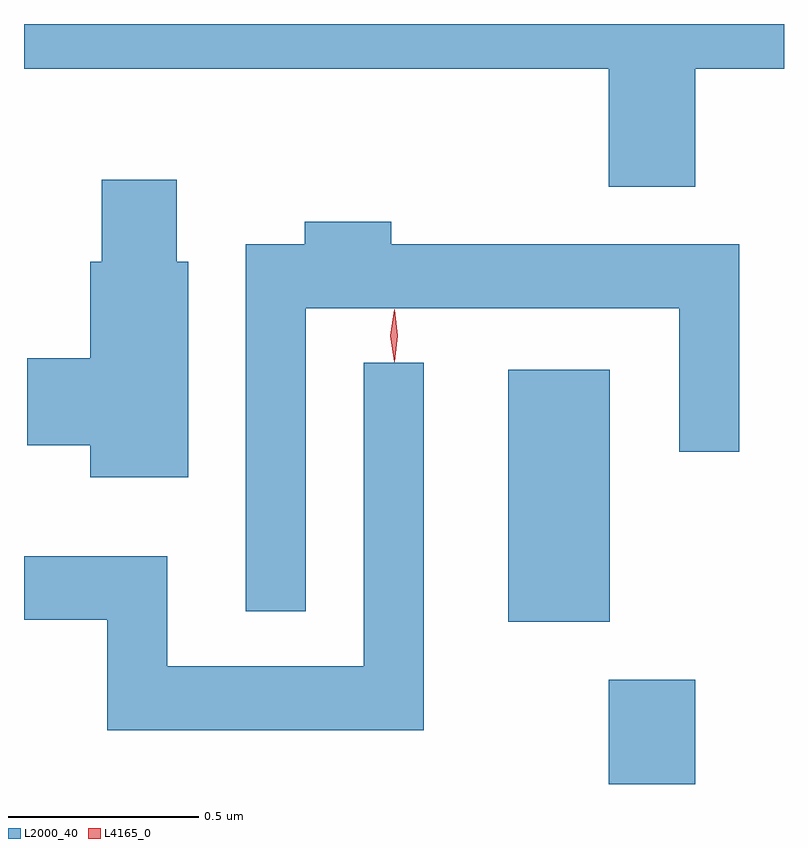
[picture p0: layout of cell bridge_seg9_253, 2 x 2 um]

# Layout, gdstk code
import gdstk
lib = gdstk.Library(unit=1e-6, precision=1e-09)
def R(c, l, rs):  # rectangles x0, y0, x1, y1
    for r in rs: c.add(gdstk.rectangle(r[:2], r[2:], *l))
def P(c, l, *ps):  # polygons
    for p in ps: c.add(gdstk.Polygon(p, *l))
L2000_40 = (2000, 40)
L4165_0 = (4165, 0)

bridge_seg9_253 = lib.new_cell('bridge_seg9_253')
R(bridge_seg9_253, L2000_40, [(1470.191,1945.534,1470.419,1945.809), (1469.926,1945.961,1470.194,1946.624)])
P(bridge_seg9_253, L2000_40, [(1470.419,1947.416),(1470.652,1947.416),(1470.652,1947.534),(1468.652,1947.534),(1468.652,1947.416),(1470.191,1947.416),(1470.191,1947.106),(1470.419,1947.106)],
  [(1469.084,1946.909),(1469.054,1946.909),(1469.054,1947.124),(1468.856,1947.124),(1468.856,1946.909),(1468.826,1946.909),(1468.826,1946.654),(1468.661,1946.654),(1468.661,1946.426),(1468.826,1946.426),(1468.826,1946.341),(1469.084,1946.341)],
  [(1469.394,1946.786),(1470.376,1946.786),(1470.376,1946.408),(1470.534,1946.408),(1470.534,1946.954),(1469.619,1946.954),(1469.619,1947.014),(1469.391,1947.014),(1469.391,1946.954),(1469.236,1946.954),(1469.236,1945.988),(1469.394,1945.988)],
  [(1469.704,1946.643),(1469.546,1946.643),(1469.546,1945.844),(1469.029,1945.844),(1469.029,1946.134),(1468.652,1946.134),(1468.652,1945.966),(1468.871,1945.966),(1468.871,1945.676),(1469.704,1945.676)])
P(bridge_seg9_253, L4165_0, [(1469.626,1946.644),(1469.626,1946.645),(1469.616,1946.714),(1469.626,1946.782),(1469.626,1946.783),(1469.627,1946.782),(1469.636,1946.714),(1469.627,1946.645)],
  [(1469.626,1946.648),(1469.626,1946.648),(1469.616,1946.714),(1469.626,1946.78),(1469.626,1946.781),(1469.627,1946.78),(1469.636,1946.714),(1469.627,1946.648)])

lib.write_gds('bridge_seg9_253.gds')
